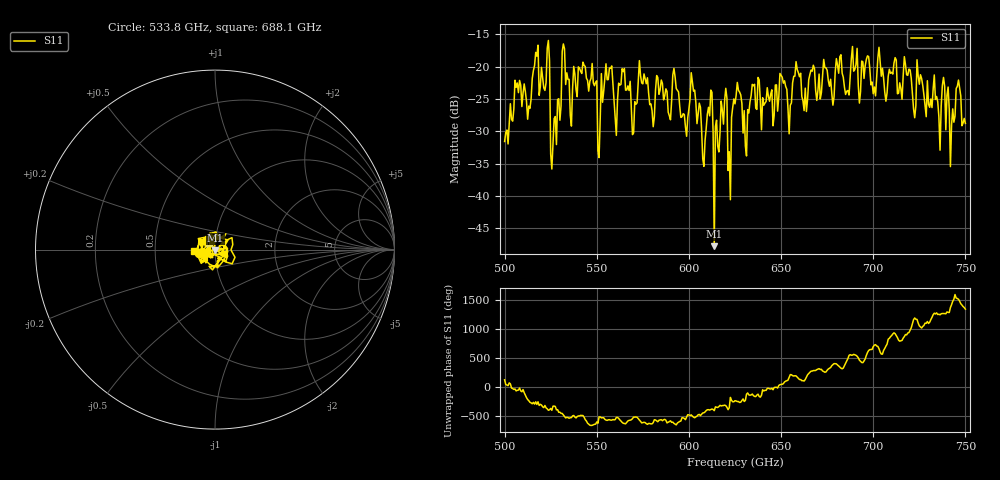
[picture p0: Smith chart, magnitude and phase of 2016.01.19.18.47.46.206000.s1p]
!Created with skrf (http://scikit-rf.org).
# GHz S RI R 50.0
!freq ReS11 ImS11
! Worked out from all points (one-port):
!   401 points, 500 GHz to 750 GHz, reference 50 ohm
!   lowest |S11| = -47.7 dB at 613.8 GHz (marker M1), VSWR 1.01, Z = 50.3 - j0.322 ohm
!   |S11| at or under -10 dB: start of sweep to end of sweep
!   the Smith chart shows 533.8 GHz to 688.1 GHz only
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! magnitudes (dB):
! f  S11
! 500 GHz  -31.6
! 506.9 GHz  -22.5
! 513.1 GHz  -26.1
! 516.9 GHz  -17.8
! 523.1 GHz  -17.1
! 526.2 GHz  -31.9
! 531.2 GHz  -17.7
! 548.8 GHz  -22.9
! 551.9 GHz  -28.0
! 555.6 GHz  -22.0
! 562.5 GHz  -22.8
! 570 GHz  -30.2
! 574.4 GHz  -22.5
! 593.8 GHz  -23.6
! 598.1 GHz  -29.3
! 602.5 GHz  -23.8
! 608.1 GHz  -35.4
! 611.2 GHz  -27.6
! 613.8 GHz  -47.7
! 619.4 GHz  -25.2
! 622.5 GHz  -40.6
! 625 GHz  -25.7
! 630.6 GHz  -32.2
! 634.4 GHz  -22.7
! 656.2 GHz  -22.5
! 687.5 GHz  -21.6
! 718.8 GHz  -21.3
! 750 GHz  -28.8
